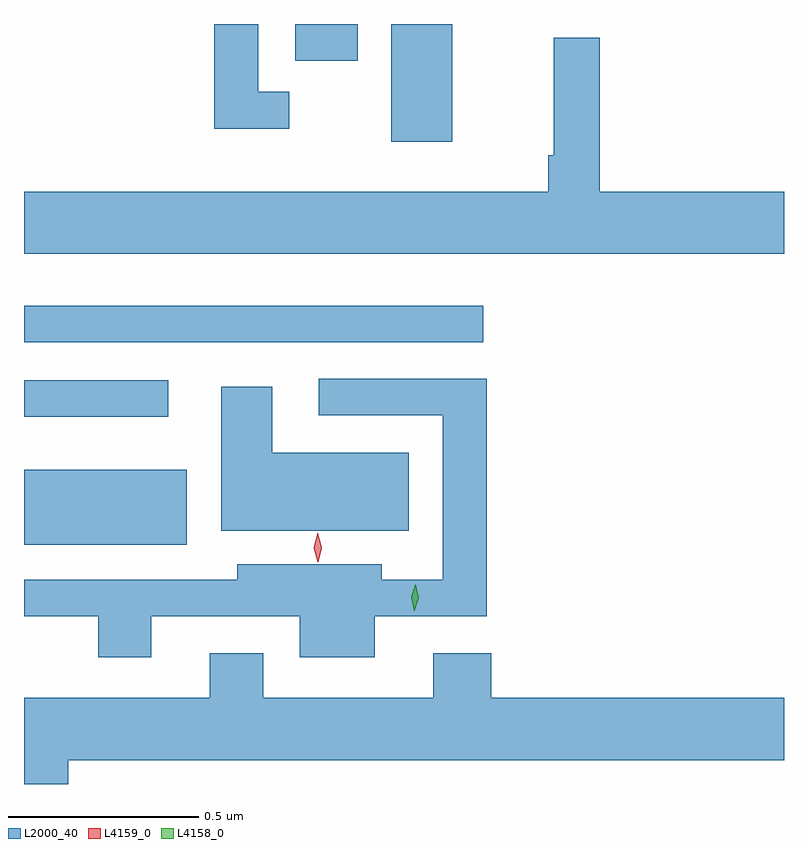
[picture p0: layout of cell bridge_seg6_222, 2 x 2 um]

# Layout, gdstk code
import gdstk
lib = gdstk.Library(unit=1e-6, precision=1e-09)
def R(c, l, rs):  # rectangles x0, y0, x1, y1
    for r in rs: c.add(gdstk.rectangle(r[:2], r[2:], *l))
def P(c, l, *ps):  # polygons
    for p in ps: c.add(gdstk.Polygon(p, *l))
L2000_40 = (2000, 40)
L4158_0 = (4158, 0)
L4159_0 = (4159, 0)

bridge_seg6_222 = lib.new_cell('bridge_seg6_222')
R(bridge_seg6_222, L2000_40, [(230.108,974.543,230.536,974.74), (230.108,974.879,230.488,974.976), (230.108,975.075,231.316,975.172), (231.074,975.603,231.235,975.913), (230.822,975.816,230.986,975.913)])
P(bridge_seg6_222, L2000_40, [(230.806,975.735),(230.724,975.735),(230.724,975.913),(230.608,975.913),(230.608,975.638),(230.806,975.638)],
  [(232.108,975.472),(231.623,975.472),(231.623,975.877),(231.502,975.877),(231.502,975.568),(231.487,975.568),(231.487,975.472),(230.108,975.472),(230.108,975.308),(232.108,975.308)],
  [(230.443,974.355),(230.834,974.355),(230.834,974.246),(231.031,974.246),(231.031,974.355),(231.326,974.355),(231.326,974.979),(230.883,974.979),(230.883,974.883),(231.21,974.883),(231.21,974.451),(231.049,974.451),(231.049,974.491),(230.669,974.491),(230.669,974.451),(230.108,974.451),(230.108,974.355),(230.303,974.355),(230.303,974.246),(230.443,974.246)],
  [(231.121,974.785),(230.761,974.785),(230.761,974.959),(230.627,974.959),(230.627,974.579),(231.121,974.579)],
  [(230.224,973.976),(232.108,973.976),(232.108,974.14),(231.338,974.14),(231.338,974.257),(231.185,974.257),(231.185,974.14),(230.737,974.14),(230.737,974.257),(230.597,974.257),(230.597,974.14),(230.108,974.14),(230.108,973.913),(230.224,973.913)])
P(bridge_seg6_222, L4158_0, [(231.135,974.368),(231.135,974.368),(231.127,974.404),(231.138,974.438),(231.138,974.438),(231.139,974.438),(231.147,974.403),(231.135,974.368)])
P(bridge_seg6_222, L4159_0, [(230.881,974.496),(230.871,974.535),(230.881,974.574),(230.881,974.574),(230.881,974.574),(230.891,974.535),(230.882,974.496),(230.882,974.496)])

lib.write_gds('bridge_seg6_222.gds')
